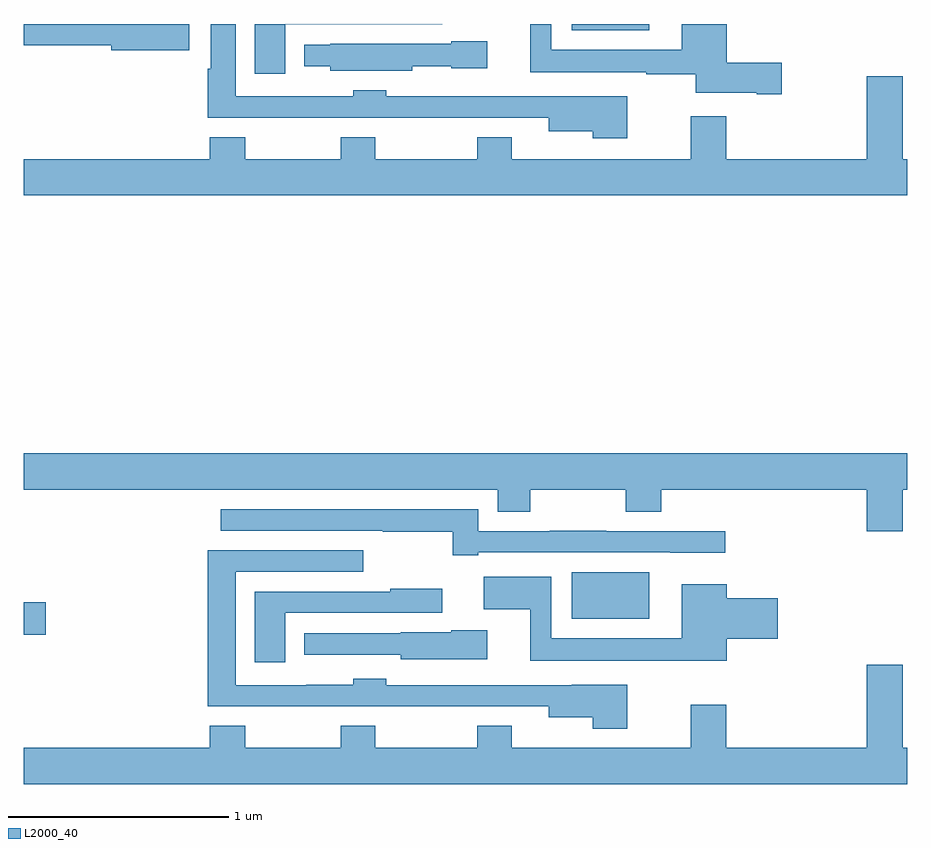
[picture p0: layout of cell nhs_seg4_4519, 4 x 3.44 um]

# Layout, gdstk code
import gdstk
lib = gdstk.Library(unit=1e-6, precision=1e-09)
def R(c, l, rs):  # rectangles x0, y0, x1, y1
    for r in rs: c.add(gdstk.rectangle(r[:2], r[2:], *l))
def P(c, l, *ps):  # polygons
    for p in ps: c.add(gdstk.Polygon(p, *l))
L2000_40 = (2000, 40)

nhs_seg4_4519 = lib.new_cell('nhs_seg4_4519')
R(nhs_seg4_4519, L2000_40, [(353,824.135,353.101,824.282), (355.481,824.207,355.831,824.419), (355.481,826.871,355.831,826.9)])
P(nhs_seg4_4519, L2000_40, [(356.431,826.724),(356.182,826.724),(356.182,826.9),(355.979,826.9),(355.979,826.783),(355.389,826.783),(355.389,826.9),(355.292,826.9),(355.292,826.682),(355.819,826.682),(355.819,826.672),(356.042,826.672),(356.042,826.589),(356.318,826.589),(356.318,826.582),(356.431,826.582)],
  [(353.749,826.9),(353,826.9),(353,826.804),(353.396,826.804),(353.396,826.781),(353.749,826.781)],
  [(354.184,826.899),(354.895,826.899),(354.895,826.9),(354.047,826.9),(354.047,826.674),(354.184,826.674)],
  [(355.731,826.573),(355.48,826.573),(355.48,826.572),(354.642,826.572),(354.642,826.6),(354.492,826.6),(354.492,826.572),(353.959,826.572),(353.959,826.9),(353.846,826.9),(353.846,826.697),(353.834,826.697),(353.834,826.475),(354.965,826.475),(354.965,826.476),(355.376,826.476),(355.376,826.415),(355.576,826.415),(355.576,826.382),(355.731,826.382)],
  [(354.759,826.709),(354.936,826.709),(354.936,826.7),(355.099,826.7),(355.099,826.821),(354.936,826.821),(354.936,826.81),(354.387,826.81),(354.387,826.806),(354.269,826.806),(354.269,826.709),(354.387,826.709),(354.387,826.688),(354.759,826.688)],
  [(356.816,826.663),(356.816,826.288),(356.18,826.288),(356.18,826.483),(356.02,826.483),(356.02,826.288),(355.209,826.288),(355.209,826.387),(355.054,826.387),(355.054,826.288),(354.591,826.288),(354.591,826.387),(354.436,826.387),(354.436,826.288),(354.003,826.288),(354.003,826.387),(353.843,826.387),(353.843,826.288),(353,826.288),(353,826.124),(357,826.124),(357,826.288),(356.98,826.288),(356.98,826.663)],
  [(356.98,824.792),(357,824.792),(357,824.956),(353,824.956),(353,824.792),(355.145,824.792),(355.145,824.693),(355.293,824.693),(355.293,824.792),(355.726,824.792),(355.726,824.693),(355.886,824.693),(355.886,824.792),(356.816,824.792),(356.816,824.604),(356.98,824.604)],
  [(355.057,824.508),(355.927,824.508),(355.927,824.507),(356.176,824.507),(356.176,824.604),(355.637,824.604),(355.637,824.606),(355.381,824.606),(355.381,824.604),(355.057,824.604),(355.057,824.703),(353.892,824.703),(353.892,824.607),(354.625,824.607),(354.625,824.602),(354.943,824.602),(354.943,824.496),(355.057,824.496)],
  [(355.731,823.909),(355.48,823.909),(355.48,823.908),(354.642,823.908),(354.642,823.936),(354.492,823.936),(354.492,823.909),(354.28,823.909),(354.28,823.908),(353.959,823.908),(353.959,824.421),(354.538,824.421),(354.538,824.517),(353.834,824.517),(353.834,823.811),(354.965,823.811),(354.965,823.812),(355.376,823.812),(355.376,823.763),(355.576,823.763),(355.576,823.71),(355.731,823.71)],
  [(356.182,824.117),(356.413,824.117),(356.413,824.3),(356.182,824.3),(356.182,824.365),(355.979,824.365),(355.979,824.119),(355.389,824.119),(355.389,824.398),(355.083,824.398),(355.083,824.252),(355.292,824.252),(355.292,824.018),(356.182,824.018)],
  [(354.184,824.235),(354.895,824.235),(354.895,824.344),(354.659,824.344),(354.659,824.331),(354.047,824.331),(354.047,824.01),(354.184,824.01)],
  [(355.099,824.157),(354.936,824.157),(354.936,824.146),(354.708,824.146),(354.708,824.142),(354.269,824.142),(354.269,824.046),(354.708,824.046),(354.708,824.024),(355.099,824.024)],
  [(357,823.624),(356.98,823.624),(356.98,823.999),(356.816,823.999),(356.816,823.624),(356.18,823.624),(356.18,823.819),(356.02,823.819),(356.02,823.624),(355.209,823.624),(355.209,823.723),(355.054,823.723),(355.054,823.624),(354.591,823.624),(354.591,823.723),(354.436,823.723),(354.436,823.624),(354.003,823.624),(354.003,823.723),(353.843,823.723),(353.843,823.624),(353,823.624),(353,823.46),(357,823.46)])

lib.write_gds('nhs_seg4_4519.gds')
